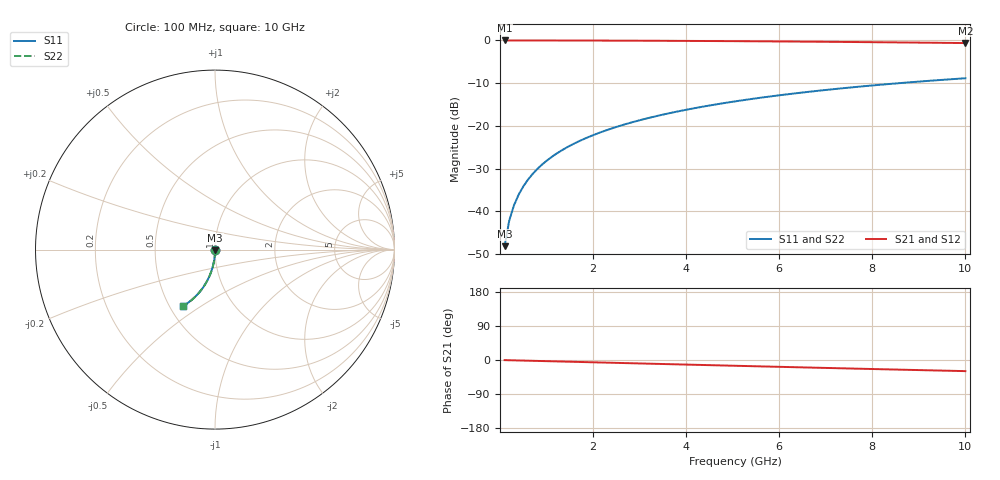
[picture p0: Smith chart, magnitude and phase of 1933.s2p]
# Hz S RI R 50.00
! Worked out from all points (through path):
!   100 points, 100 MHz to 10 GHz, reference 50 ohm
!   highest |S21| = 0.00 dB at 100 MHz (marker M1); lowest = -0.6 dB at 10 GHz (marker M2)
!   group delay of S21, straight-line fit = 8.19 ps
!   lowest |S11| = -48.2 dB at 100 MHz (marker M3), VSWR 1.01, Z = 50 - j0.389 ohm
!   |S11| at or under -10 dB: start of sweep to 8.584 GHz
!   |S22| runs from -48.2 to -8.9 dB; largest |S21 - S12| = 1e-12
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1e8  0.000151 -0.00389  0.9998 -0.00528  0.9998 -0.00528  0.000151 -0.00389
2e8  8.63e-05 -0.00778  0.9997 -0.0106  0.9997 -0.0106  8.63e-05 -0.00778
3e8  -2.01e-05 -0.0117  0.9996 -0.0158  0.9996 -0.0158  -2.01e-05 -0.0117
4e8  -0.000168 -0.0156  0.9995 -0.0211  0.9995 -0.0211  -0.000168 -0.0156
5e8  -0.000357 -0.0195  0.9993 -0.0264  0.9993 -0.0264  -0.000357 -0.0195
6e8  -0.000587 -0.0233  0.999 -0.0317  0.999 -0.0317  -0.000587 -0.0233
7e8  -0.000858 -0.0272  0.9987 -0.037  0.9987 -0.037  -0.000858 -0.0272
8e8  -0.00117 -0.0311  0.9984 -0.0422  0.9984 -0.0422  -0.00117 -0.0311
9e8  -0.00152 -0.035  0.998 -0.0475  0.998 -0.0475  -0.00152 -0.035
1.1e9  -0.00235 -0.0427  0.9972 -0.058  0.9972 -0.058  -0.00235 -0.0427
1.4e9  -0.0039 -0.0543  0.9955 -0.0738  0.9955 -0.0738  -0.0039 -0.0543
1.8e9  -0.00654 -0.0696  0.9928 -0.0947  0.9928 -0.0947  -0.00654 -0.0696
2.1e9  -0.00894 -0.0811  0.9903 -0.1104  0.9903 -0.1104  -0.00894 -0.0811
2.5e9  -0.0127 -0.0962  0.9863 -0.131  0.9863 -0.131  -0.0127 -0.0962
2.9e9  -0.0171 -0.1111  0.9817 -0.1515  0.9817 -0.1515  -0.0171 -0.1111
3.4e9  -0.0234 -0.1294  0.9751 -0.1769  0.9751 -0.1769  -0.0234 -0.1294
4.2e9  -0.0355 -0.1578  0.9624 -0.2166  0.9624 -0.2166  -0.0355 -0.1578
5.1e9  -0.0517 -0.1881  0.9453 -0.2597  0.9453 -0.2597  -0.0517 -0.1881
5.9e9  -0.0683 -0.2135  0.9278 -0.2965  0.9278 -0.2965  -0.0683 -0.2135
6.7e9  -0.0867 -0.2372  0.9084 -0.3317  0.9084 -0.3317  -0.0867 -0.2372
8.4e9  -0.1309 -0.2813  0.8616 -0.4004  0.8616 -0.4004  -0.1309 -0.2813
1e10  -0.177 -0.3143  0.8123 -0.457  0.8123 -0.457  -0.177 -0.3143
